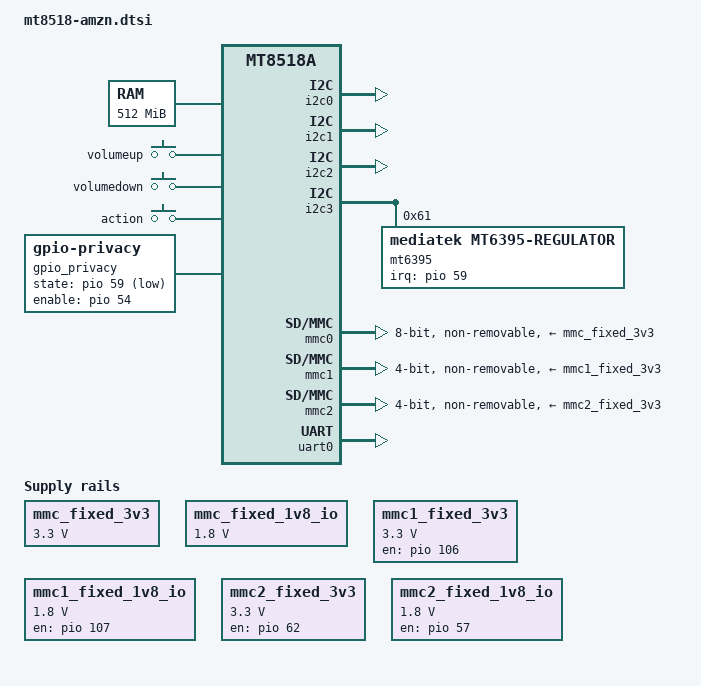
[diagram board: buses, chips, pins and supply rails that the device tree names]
/*
 * Copyright (C) 2019 Amazon.com
 *
 * This program is free software: you can redistribute it and/or modify
 * it under the terms of the GNU General Public License version 2 as
 * published by the Free Software Foundation.
 *
 * This program is distributed in the hope that it will be useful,
 * but WITHOUT ANY WARRANTY; without even the implied warranty of
 * MERCHANTABILITY or FITNESS FOR A PARTICULAR PURPOSE. See the
 * GNU General Public License for more details.
 *
 */

#include "mt8518a.dtsi"
#include <dt-bindings/gpio/gpio.h>

/ {
	aliases {
		serial0 = &uart0;
		serial1 = &uart1;
	};

	memory@40000000 {
		device_type = "memory";
		reg = <0 0x40000000 0 0x20000000>;
	};

	aliases {
		i2c0 = &i2c0;
		i2c1 = &i2c1;
		i2c2 = &i2c2;
		i2c3 = &i2c3;
	};

	firmware {
		optee {
			compatible = "linaro,optee-tz";
			method = "smc";
		};
	};

	reserved-memory {
		adsp_reserved_memory: ipcbuffer@43270000 {
			compatible = "mediatek,mt8518-adsp-reserved-memory";
			no-map;
			reg = <0 0x43270000 0 0x500000>;
		};

		optee-reserved-memory@43030000 {
			compatible = "mediatek,mt8518-optee-reserved-memory";
			no-map;
			reg = <0 0x43030000 0 0x200000>;
		};

		optee-reserved-shared-memory@43230000 {
			compatible = "mediatek,mt8518-optee-reserved-shmemory";
			no-map;
			reg = <0 0x43230000 0 0x40000>;
		};
	};

	mmc_fixed_3v3: fixedregulator@0 {
		compatible = "regulator-fixed";
		regulator-name = "mmc_power";
		regulator-min-microvolt = <3300000>;
		regulator-max-microvolt = <3300000>;
		enable-active-high;
		regulator-always-on;
	};

	mmc_fixed_1v8_io: fixedregulator@1 {
		compatible = "regulator-fixed";
		regulator-name = "mmc_io";
		regulator-min-microvolt = <1800000>;
		regulator-max-microvolt = <1800000>;
		enable-active-high;
		regulator-always-on;
	};

	mmc1_fixed_3v3: fixedregulator@2 {
			compatible = "regulator-fixed";
			regulator-name = "mmc1_power";
			regulator-min-microvolt = <3300000>;
			regulator-max-microvolt = <3300000>;
			gpio = <&pio 106 GPIO_ACTIVE_HIGH>;
			enable-active-high;
	};

	mmc1_fixed_1v8_io: fixedregulator@3 {
			compatible = "regulator-fixed";
			regulator-name = "mmc1_io";
			regulator-min-microvolt = <1800000>;
			regulator-max-microvolt = <1800000>;
			gpio = <&pio 107 GPIO_ACTIVE_HIGH>;
			enable-active-high;
	};

	mmc2_fixed_3v3: fixedregulator@4 {
			compatible = "regulator-fixed";
			regulator-name = "mmc1_power";
			regulator-min-microvolt = <3300000>;
			regulator-max-microvolt = <3300000>;
			gpio = <&pio 62 GPIO_ACTIVE_HIGH>;
			enable-active-high;
	};

	mmc2_fixed_1v8_io: fixedregulator@5 {
			compatible = "regulator-fixed";
			regulator-name = "mmc2_io";
			regulator-min-microvolt = <1800000>;
			regulator-max-microvolt = <1800000>;
			gpio = <&pio 57 GPIO_ACTIVE_HIGH>;
			enable-active-high;
	};

	gpio_keys: gpio-keys {
		compatible = "gpio-keys";
		pinctrl-names = "default";
		pinctrl-0 = <&gpio_keys_default>;

		volumeup_button: button@0 {
			debounce_interval = <50>;
			wakeup-source;
			label = "volumeup";
			linux,input-type = <0x1>;
			linux,code = <115>;
		};

		volumedown_button: button@1 {
			debounce_interval = <50>;
			wakeup-source;
			label = "volumedown";
			linux,input-type = <0x1>;
			linux,code = <114>;
		};

		action_button: button@2 {
			debounce_interval = <50>;
			wakeup-source;
			label = "action";
			linux,input-type = <0x1>;
			linux,code = <138>;
		};
	};

	gpio_privacy: gpio-privacy {
		compatible = "gpio-privacy";

		state-gpios = <&pio 59 GPIO_ACTIVE_LOW>;
		enable-gpio = <&pio 54 GPIO_ACTIVE_HIGH>;
		status="okay";
		input_event {
			label = "mute";
			gpios = <&pio 60 GPIO_ACTIVE_LOW>;
			linux,code = <113>;
			debounce-interval = <50>;
			wakeup-source;
		};
	};
};

&cpu0 {
	proc-supply = <&mt6395_vproc>;
};

&cpu1 {
	proc-supply = <&mt6395_vproc>;
};

&cpu2 {
	proc-supply = <&mt6395_vproc>;
};

&cpu3 {
	proc-supply = <&mt6395_vproc>;
};

&i2c0 {
	pinctrl-names = "default";
	pinctrl-0 = <&i2c0_pins>;
	status = "okay";
};

&i2c1 {
	pinctrl-names = "default";
	pinctrl-0 = <&i2c1_pins>;
	status = "okay";
};

&i2c2 {
	pinctrl-names = "default";
	pinctrl-0 = <&i2c2_pins>;
	status = "okay";
};

&i2c3 {
	pinctrl-names = "default";
	pinctrl-0 = <&i2c3_pins>;
	status = "okay";

	mt6395: mt6395@61 {
		compatible = "mediatek,mt6395-regulator";
		pinctrl-names = "default";
		pinctrl-0 = <&pmic_irq_pins>;
		mt6395,irq-gpios = <&pio 59 0x0>;
		reg = <0x61>;
		status = "okay";
	};
};

&pwm {
	pinctrl-names = "default";
	pinctrl-0 = <&pwm_pins_default>;
	status = "disabled";
};

&mmc0 {
	status = "okay";
	pinctrl-names = "default", "state_uhs";
	pinctrl-0 = <&mmc0_pins_default>;
	pinctrl-1 = <&mmc0_pins_uhs>;
	bus-width = <8>;
	max-frequency = <200000000>;
	cap-mmc-highspeed;
	mmc-hs200-1_8v;
	mmc-hs400-1_8v;
	cap-mmc-hw-reset;
	hs400-ds-delay = <0x1201D>;
	r_smpl = <0>;
	vmmc-supply = <&mmc_fixed_3v3>;
	vqmmc-supply = <&mmc_fixed_1v8_io>;
	no-sd;
	no-sdio;
	non-removable;
};

&mmc1 {
	status = "okay";
	compatible = "mediatek,mt8518-sdio";
	pinctrl-names = "default", "state_uhs", "state_eint", "state_dat1";
	pinctrl-0 = <&mmc1_pins_default>;
	pinctrl-1 = <&mmc1_pins_uhs>;
	pinctrl-2 = <&mmc1_pins_eint>;
	pinctrl-3 = <&mmc1_pins_dat1>;
	eint-gpios = <&pio 117 GPIO_ACTIVE_HIGH>;
	bus-width = <4>;
	max-frequency = <200000000>;
	cap-sd-highspeed;
	sd-uhs-sdr50;
	sd-uhs-sdr104;
	keep-power-in-suspend;
	enable-sdio-wakeup;
	cap-sdio-irq;
	no-mmc;
	no-sd;
	non-removable;
	vmmc-supply = <&mmc1_fixed_3v3>;
	vqmmc-supply = <&mmc1_fixed_1v8_io>;
};

&mmc2 {
	status = "okay";
	pinctrl-names = "default", "state_uhs", "state_eint", "state_dat1";
	pinctrl-0 = <&mmc2_pins_default>;
	pinctrl-1 = <&mmc2_pins_uhs>;
	pinctrl-2 = <&mmc2_pins_eint>;
	pinctrl-3 = <&mmc2_pins_dat1>;
	eint-gpios = <&pio 32 GPIO_ACTIVE_HIGH>;
	bus-width = <4>;
	max-frequency = <200000000>;
	cap-sd-highspeed;
	sd-uhs-sdr104;
	sd-uhs-sdr50;
	keep-power-in-suspend;
	enable-sdio-wakeup;
	cap-sdio-irq;
	no-sd;
	no-mmc;
	non-removable;
	vmmc-supply = <&mmc2_fixed_3v3>;
	vqmmc-supply = <&mmc2_fixed_1v8_io>;
	mt76x8_pmu_en_gpio = <&pio 24 0>;
	mt76x8_pmu_en_delay = <5>; /* ms */
};

&mmc2_fixed_1v8_io {
        status = "okay";
        pinctrl-names = "default";
        pinctrl-0 = <&mmc2_reset>;
};

&uart0 {
	status = "okay";
};

&pio {
	pinctrl-names = "default";

	i2c0_pins: i2c0 {
		pins_bus {
			pinmux = <MT8518_PIN_110_SDA0__FUNC_SDA0_0>,
				 <MT8518_PIN_111_SCL0__FUNC_SCL0_0>;
			bias-disable;
		};
	};

	i2c1_pins: i2c1 {
		pins_bus {
			pinmux = <MT8518_PIN_108_SDA1__FUNC_SDA1_0>,
				 <MT8518_PIN_109_SCL1__FUNC_SCL1_0>;
			bias-disable;
		};
	};

	i2c2_pins: i2c2 {
		pins_bus {
			pinmux = <MT8518_PIN_112_SDA2__FUNC_SDA2_0>,
				 <MT8518_PIN_113_SCL2__FUNC_SCL2_0>;
			bias-disable;
		};
	};

	i2c3_pins: i2c3 {
		pins_bus {
			pinmux = <MT8518_PIN_21_SDA3__FUNC_SDA3_0>,
				 <MT8518_PIN_22_SCL3__FUNC_SCL3_0>;
			bias-disable;
		};
	};

	pmic_irq_pins: pmic_irq {
		pins_bus {
			pinmux = <MT8518_PIN_59_EINT18__FUNC_GPIO59>;
			bias-pull-up = <MTK_PUPD_SET_R1R0_01>;
		};
	};

	mmc0_pins_default: mmc0default {
		pins_cmd_dat {
			pinmux = <MT8518_PIN_13_MSDC0_DAT0__FUNC_MSDC0_DAT0>,
				 <MT8518_PIN_12_MSDC0_DAT1__FUNC_MSDC0_DAT1>,
				 <MT8518_PIN_11_MSDC0_DAT2__FUNC_MSDC0_DAT2>,
				 <MT8518_PIN_10_MSDC0_DAT3__FUNC_MSDC0_DAT3>,
				 <MT8518_PIN_6_MSDC0_DAT4__FUNC_MSDC0_DAT4>,
				 <MT8518_PIN_5_MSDC0_DAT5__FUNC_MSDC0_DAT5>,
				 <MT8518_PIN_4_MSDC0_DAT6__FUNC_MSDC0_DAT6>,
				 <MT8518_PIN_3_MSDC0_DAT7__FUNC_MSDC0_DAT7>,
				 <MT8518_PIN_8_MSDC0_CMD__FUNC_MSDC0_CMD>;
			input-enable;
			bias-pull-up;
		};

		pins_clk {
			pinmux = <MT8518_PIN_9_MSDC0_CLK__FUNC_MSDC0_CLK>;
			bias-pull-down;
		};
	};

	mmc0_pins_uhs: mmc0@0{
		pins_cmd_dat {
			pinmux = <MT8518_PIN_13_MSDC0_DAT0__FUNC_MSDC0_DAT0>,
				 <MT8518_PIN_12_MSDC0_DAT1__FUNC_MSDC0_DAT1>,
				 <MT8518_PIN_11_MSDC0_DAT2__FUNC_MSDC0_DAT2>,
				 <MT8518_PIN_10_MSDC0_DAT3__FUNC_MSDC0_DAT3>,
				 <MT8518_PIN_6_MSDC0_DAT4__FUNC_MSDC0_DAT4>,
				 <MT8518_PIN_5_MSDC0_DAT5__FUNC_MSDC0_DAT5>,
				 <MT8518_PIN_4_MSDC0_DAT6__FUNC_MSDC0_DAT6>,
				 <MT8518_PIN_3_MSDC0_DAT7__FUNC_MSDC0_DAT7>,
				 <MT8518_PIN_8_MSDC0_CMD__FUNC_MSDC0_CMD>;
			input-enable;
			drive-strength = <MTK_DRIVE_6mA>;
			bias-pull-up;
		};

		pins_clk {
			pinmux = <MT8518_PIN_9_MSDC0_CLK__FUNC_MSDC0_CLK>;
			drive-strength = <MTK_DRIVE_8mA>;
			bias-pull-down;
		};

		pins_ds {
			pinmux = <MT8518_PIN_2_NFI_NRNB__FUNC_MSDC0_DS>;
			bias-pull-down = <MTK_PUPD_SET_R1R0_10>;
		};

		pins_rst {
			pinmux = <MT8518_PIN_7_MSDC0_RSTB__FUNC_MSDC0_RSTB>;
			bias-pull-up;
		};
	};

	mmc1_pins_default: mmc1default {
		pins_cmd_dat {
			pinmux = <MT8518_PIN_116_MSDC1_DAT0__FUNC_MSDC1_DAT0>,
				 <MT8518_PIN_117_MSDC1_DAT1__FUNC_MSDC1_DAT1>,
				 <MT8518_PIN_118_MSDC1_DAT2__FUNC_MSDC1_DAT2>,
				 <MT8518_PIN_119_MSDC1_DAT3__FUNC_MSDC1_DAT3>,
				 <MT8518_PIN_114_MSDC1_CMD__FUNC_MSDC1_CMD>;
			input-enable;
			drive-strength = <MTK_DRIVE_8mA>;
			bias-pull-up = <MTK_PUPD_SET_R1R0_01>;
		};

		pins_clk {
			pinmux = <MT8518_PIN_115_MSDC1_CLK__FUNC_MSDC1_CLK>;
			drive-strength = <MTK_DRIVE_8mA>;
			bias-pull-down = <MTK_PUPD_SET_R1R0_10>;
		};
	};

	mmc1_pins_uhs: mmc1@0 {
		pins_cmd_dat {
			pinmux = <MT8518_PIN_116_MSDC1_DAT0__FUNC_MSDC1_DAT0>,
				 <MT8518_PIN_117_MSDC1_DAT1__FUNC_MSDC1_DAT1>,
				 <MT8518_PIN_118_MSDC1_DAT2__FUNC_MSDC1_DAT2>,
				 <MT8518_PIN_119_MSDC1_DAT3__FUNC_MSDC1_DAT3>,
				 <MT8518_PIN_114_MSDC1_CMD__FUNC_MSDC1_CMD>;
			input-enable;
			drive-strength = <MTK_DRIVE_6mA>;
			bias-pull-up = <MTK_PUPD_SET_R1R0_01>;
		};

		pins_clk {
			pinmux = <MT8518_PIN_115_MSDC1_CLK__FUNC_MSDC1_CLK>;
			drive-strength = <MTK_DRIVE_8mA>;
			bias-pull-down = <MTK_PUPD_SET_R1R0_10>;
		};
	};

	mmc1_pins_eint: mmc1@1 {
		pins_dat1 {
			pinmux = <MT8518_PIN_117_MSDC1_DAT1__FUNC_GPIO117>;
			output-high;
		};
	};

	mmc1_pins_dat1: mmc1@2 {
		pins_dat1 {
			pinmux = <MT8518_PIN_117_MSDC1_DAT1__FUNC_MSDC1_DAT1>;
			input-enable;
			drive-strength = <MTK_DRIVE_6mA>;
			bias-pull-up = <MTK_PUPD_SET_R1R0_01>;
		};
	};

	mmc2_pins_default: mmc2default {
		pins_cmd_dat {
			pinmux = <MT8518_PIN_29_MSDC2_CMD__FUNC_MSDC2_CMD>,
			       <MT8518_PIN_31_MSDC2_DAT0__FUNC_MSDC2_DAT0>,
			       <MT8518_PIN_32_MSDC2_DAT1__FUNC_MSDC2_DAT1>,
			       <MT8518_PIN_33_MSDC2_DAT2__FUNC_MSDC2_DAT2>,
			       <MT8518_PIN_34_MSDC2_DAT3__FUNC_MSDC2_DAT3>;
			input-enable;
			bias-pull-up = <MTK_PUPD_SET_R1R0_01>;
		};

		pins_clk {
			pinmux = <MT8518_PIN_30_MSDC2_CLK__FUNC_MSDC2_CLK>;
			bias-pull-down = <MTK_PUPD_SET_R1R0_10>;
		};
	};

	mmc2_pins_uhs: mmc2@0{
		pins_cmd_dat {
			pinmux = <MT8518_PIN_29_MSDC2_CMD__FUNC_MSDC2_CMD>,
			       <MT8518_PIN_31_MSDC2_DAT0__FUNC_MSDC2_DAT0>,
			       <MT8518_PIN_32_MSDC2_DAT1__FUNC_MSDC2_DAT1>,
			       <MT8518_PIN_33_MSDC2_DAT2__FUNC_MSDC2_DAT2>,
			       <MT8518_PIN_34_MSDC2_DAT3__FUNC_MSDC2_DAT3>;
			input-enable;
			drive-strength = <MTK_DRIVE_6mA>;
			bias-pull-up = <MTK_PUPD_SET_R1R0_01>;
		};

		pins_clk {
			pinmux = <MT8518_PIN_30_MSDC2_CLK__FUNC_MSDC2_CLK>;
			drive-strength = <MTK_DRIVE_6mA>;
			bias-pull-down = <MTK_PUPD_SET_R1R0_10>;
		};

		pins_ds {
			pinmux = <MT8518_PIN_35_MSDC2_DS__FUNC_MSDC2_DS>;
			drive-strength = <MTK_DRIVE_6mA>;
			bias-pull-down = <MTK_PUPD_SET_R1R0_10>;
		};
	};

	mmc2_pins_eint: mmc2@1 {
		pins_dat1 {
			pinmux = <MT8518_PIN_32_MSDC2_DAT1__FUNC_GPIO32>;
			output-high;
		};
	};

	mmc2_pins_dat1: mmc2@2 {
		pins_dat1 {
			pinmux = <MT8518_PIN_32_MSDC2_DAT1__FUNC_MSDC2_DAT1>;
			input-enable;
			drive-strength = <MTK_DRIVE_4mA>;
			bias-pull-up = <MTK_PUPD_SET_R1R0_01>;
		};
	};

	mmc2_reset: mmc2@3 {
		pins_cmd_dat {
			pinmux = <MT8518_PIN_57_EINT16__FUNC_GPIO57>;
			output-high;
		};
	};

	nand_pins_default: nanddefault {
		pins_dat {
			pinmux = <MT8518_PIN_3_MSDC0_DAT7__FUNC_NLD7>,
				 <MT8518_PIN_4_MSDC0_DAT6__FUNC_NLD6>,
				 <MT8518_PIN_5_MSDC0_DAT5__FUNC_NLD4>,
				 <MT8518_PIN_6_MSDC0_DAT4__FUNC_NLD3>,
				 <MT8518_PIN_7_MSDC0_RSTB__FUNC_NLD0>,
				 <MT8518_PIN_10_MSDC0_DAT3__FUNC_NLD1>,
				 <MT8518_PIN_11_MSDC0_DAT2__FUNC_NLD5>,
				 <MT8518_PIN_13_MSDC0_DAT0__FUNC_NLD2>;
			input-enable;
			bias-pull-up;
		};

		pins_cmd {
			pinmux = <MT8518_PIN_0_NFI_NCEB0__FUNC_NCEB0>,
				 <MT8518_PIN_1_NFI_NREB__FUNC_NREB>,
				 <MT8518_PIN_2_NFI_NRNB__FUNC_NRNB>,
				 <MT8518_PIN_8_MSDC0_CMD__FUNC_NALE>,
				 <MT8518_PIN_9_MSDC0_CLK__FUNC_NWEB>,
				 <MT8518_PIN_12_MSDC0_DAT1__FUNC_NCLE>;
			bias-pull-up;
		};
	};

	pwm_pins_default: pwmdefault {
		pins_cmd_dat {
			pinmux = <MT8518_PIN_114_MSDC1_CMD__FUNC_PWM_A>,
				 <MT8518_PIN_115_MSDC1_CLK__FUNC_PWM_B>,
				 <MT8518_PIN_116_MSDC1_DAT0__FUNC_PWM_C>;
		};
	};

	spi_pins_0: spi0@0 {
		pins_spi {
			pinmux = <MT8518_PIN_29_MSDC2_CMD__FUNC_SPI0_CSB>,
				<MT8518_PIN_30_MSDC2_CLK__FUNC_SPI0_CLK>,
				<MT8518_PIN_31_MSDC2_DAT0__FUNC_SPI0_MI>,
				<MT8518_PIN_32_MSDC2_DAT1__FUNC_SPI0_MO>;
			bias-disable;
		};
	};

	spi_pins_1: spi1@0 {
		pins_spi {
			pinmux = <MT8518_PIN_92_SPI2_CS__FUNC_SPI2_CSB>,
				<MT8518_PIN_93_SPI2_CK__FUNC_SPI2_CLK>,
				<MT8518_PIN_94_SPI2_MI0__FUNC_SPI2_MI0>,
				<MT8518_PIN_95_SPI2_MI1__FUNC_SPI2_MI1>,
				<MT8518_PIN_96_SPI2_MI2__FUNC_SPI2_MI2>,
				<MT8518_PIN_97_SPI2_MI3__FUNC_SPI2_MI3>;
			bias-disable;
		};
	};

	spi_pins_2: spi2@0 {
		pins_spi {
			pinmux = <MT8518_PIN_88_SPI1_CS__FUNC_SPI1_CSB>,
				<MT8518_PIN_89_SPI1_CK__FUNC_SPI1_CLK>,
				<MT8518_PIN_90_SPI1_MI__FUNC_SPI1_MI>,
				<MT8518_PIN_91_SPI1_MO__FUNC_SPI1_MO>;
			bias-disable;
		};
	};

	gpio_keys_default: gpiodefault {
	};

	uart1_pin: uart1default {
		pins_rx {
			pinmux = <MT8518_PIN_48_EINT12__FUNC_URXD1>;
			input-enable;
			bias-pull-up;
		};
		pins_tx {
			pinmux = <MT8518_PIN_49_EINT13__FUNC_UTXD1>;
		};
		pins_rts {
			pinmux = <MT8518_PIN_50_EINT14__FUNC_URTS1>;
		};
		pins_cts {
			pinmux = <MT8518_PIN_51_EINT15__FUNC_UCTS1>;
			input-enable;
			bias-pull-up;
		};
	};
};
